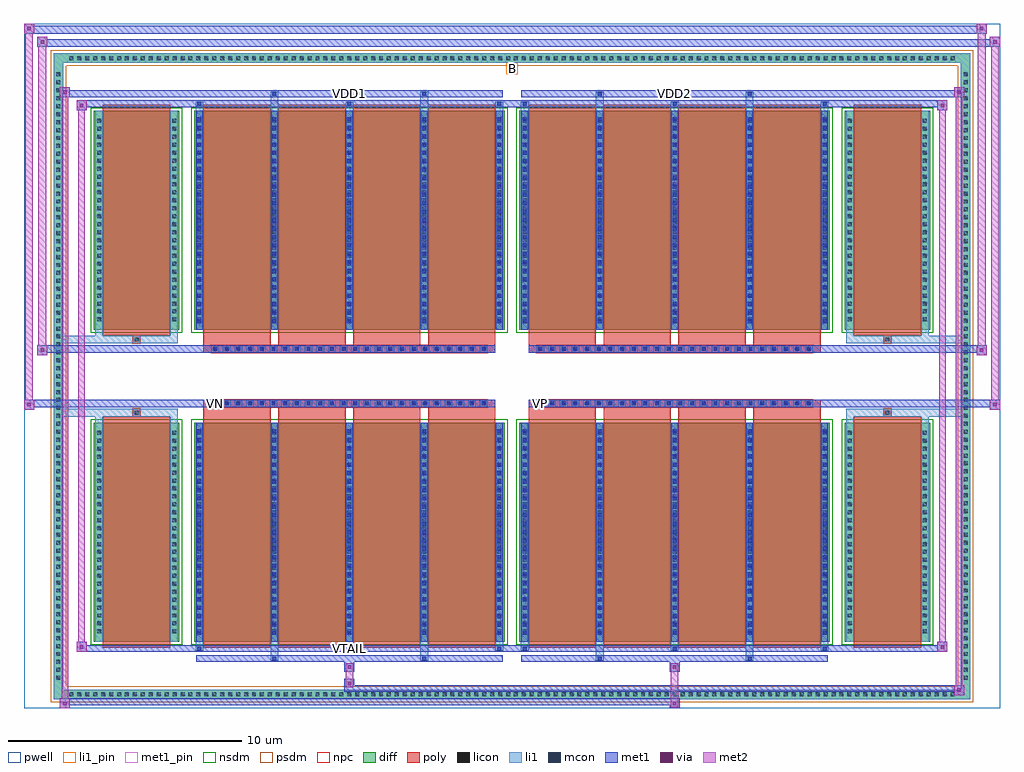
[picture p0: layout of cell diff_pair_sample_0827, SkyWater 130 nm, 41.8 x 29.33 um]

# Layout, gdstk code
import gdstk
lib = gdstk.Library(unit=1e-6, precision=5e-09)
def R(c, l, rs):  # rectangles x0, y0, x1, y1
    for r in rs: c.add(gdstk.rectangle(r[:2], r[2:], *l))
def A(c, l, x, y, w, h, nx, ny, dx, dy):  # array of equal rectangles
    R(c, l, [(x+i*dx, y+j*dy, x+i*dx+w, y+j*dy+h) for i in range(nx) for j in range(ny)])
def P(c, l, *ps):  # polygons
    for p in ps: c.add(gdstk.Polygon(p, *l))
pwell = (64, 44)
diff = (65, 20)
poly = (66, 20)
licon = (66, 44)
li1_pin = (67, 16)
li1 = (67, 20)
mcon = (67, 44)
met1_pin = (68, 16)
met1 = (68, 20)
via = (68, 44)
met2 = (69, 20)
nsdm = (93, 44)
psdm = (94, 20)
npc = (95, 20)

diff_pair_sample_0827 = lib.new_cell('diff_pair_sample_0827')
R(diff_pair_sample_0827, pwell, [(-20.9,-14.23,20.9,15.1), (-18.22,-12.42,-0.01,-0.8), (0.01,-12.42,18.22,-0.8), (-18.22,0.8,-0.01,12.42), (0.01,0.8,18.22,12.42)])
A(diff_pair_sample_0827, diff, -19.075, -13.83, 0.41, 0.41, 112, 2, 0.34, 27.25)
A(diff_pair_sample_0827, diff, -19.63, -13.125, 0.41, 0.41, 1, 77, 0, 0.34)
A(diff_pair_sample_0827, diff, 19.22, -13.125, 0.41, 0.41, 1, 77, 0, 0.34)
R(diff_pair_sample_0827, diff, [(-19.075,-13.83,19.075,-13.42), (-19.63,-13.125,-19.22,13.125), (19.22,-13.125,19.63,13.125), (-17.91,-11.375,-14.25,-1.985), (-13.61,-11.375,-0.32,-1.985), (0.32,-11.375,13.61,-1.985), (14.25,-11.375,17.91,-1.985), (-17.91,1.985,-14.25,11.375), (-13.61,1.985,-0.32,11.375), (0.32,1.985,13.61,11.375), (14.25,1.985,17.91,11.375), (-19.075,13.42,19.075,13.83)])
P(diff_pair_sample_0827, diff, [(19.63,13.83),(-19.63,13.83),(-19.63,-13.42),(-19.22,-13.42),(-19.22,13.42),(19.22,13.42),(19.22,-13.42),(-19.22,-13.42),(-19.63,-13.42),(-19.63,-13.83),(19.63,-13.83)])
A(diff_pair_sample_0827, poly, -13.22, -11.625, 2.88, 9.89, 4, 2, 3.21, 13.36)
A(diff_pair_sample_0827, poly, 0.71, -11.625, 2.88, 9.89, 4, 2, 3.21, 13.36)
A(diff_pair_sample_0827, poly, -13.22, -1.735, 2.88, 0.405, 4, 2, 3.21, 3.065)
A(diff_pair_sample_0827, poly, 0.71, -1.735, 2.88, 0.405, 4, 2, 3.21, 3.065)
A(diff_pair_sample_0827, poly, -12.88, -1.33, 0.33, 0.33, 24, 2, 0.5, 2.33)
A(diff_pair_sample_0827, poly, 1.05, -1.33, 0.33, 0.33, 24, 2, 0.5, 2.33)
R(diff_pair_sample_0827, poly, [(-17.52,-11.625,-14.64,-1.735), (14.64,-11.625,17.52,-1.735), (-16.245,-1.735,-15.915,-1.405), (-16.245,-1.735,-15.915,-1.405), (15.915,-1.735,16.245,-1.405), (15.915,-1.735,16.245,-1.405), (-13.22,-1.33,-0.71,-1), (0.71,-1.33,13.22,-1), (-13.22,1,-0.71,1.33), (0.71,1,13.22,1.33), (-16.245,1.405,-15.915,1.735), (-16.245,1.405,-15.915,1.735), (15.915,1.405,16.245,1.735), (15.915,1.405,16.245,1.735), (-17.52,1.735,-14.64,11.625), (14.64,1.735,17.52,11.625)])
A(diff_pair_sample_0827, licon, -18.955, -13.71, 0.17, 0.17, 112, 2, 0.34, 27.25)
A(diff_pair_sample_0827, licon, -19.51, -13.005, 0.17, 0.17, 1, 77, 0, 0.34)
A(diff_pair_sample_0827, licon, 19.34, -13.005, 0.17, 0.17, 1, 77, 0, 0.34)
A(diff_pair_sample_0827, licon, -17.77, -11.015, 0.17, 0.17, 1, 26, 0, 0.34)
A(diff_pair_sample_0827, licon, -14.56, -11.015, 0.17, 0.17, 1, 26, 0, 0.34)
A(diff_pair_sample_0827, licon, -13.47, -11.015, 0.17, 0.17, 5, 26, 3.21, 0.34)
A(diff_pair_sample_0827, licon, 0.46, -11.015, 0.17, 0.17, 5, 26, 3.21, 0.34)
A(diff_pair_sample_0827, licon, 14.39, -11.015, 0.17, 0.17, 1, 26, 0, 0.34)
A(diff_pair_sample_0827, licon, 17.6, -11.015, 0.17, 0.17, 1, 26, 0, 0.34)
A(diff_pair_sample_0827, licon, -12.8, -1.25, 0.17, 0.17, 24, 2, 0.5, 2.33)
A(diff_pair_sample_0827, licon, 1.13, -1.25, 0.17, 0.17, 24, 2, 0.5, 2.33)
A(diff_pair_sample_0827, licon, -17.77, 2.345, 0.17, 0.17, 1, 26, 0, 0.34)
A(diff_pair_sample_0827, licon, -14.56, 2.345, 0.17, 0.17, 1, 26, 0, 0.34)
A(diff_pair_sample_0827, licon, -13.47, 2.345, 0.17, 0.17, 5, 26, 3.21, 0.34)
A(diff_pair_sample_0827, licon, 0.46, 2.345, 0.17, 0.17, 5, 26, 3.21, 0.34)
A(diff_pair_sample_0827, licon, 14.39, 2.345, 0.17, 0.17, 1, 26, 0, 0.34)
A(diff_pair_sample_0827, licon, 17.6, 2.345, 0.17, 0.17, 1, 26, 0, 0.34)
R(diff_pair_sample_0827, licon, [(-16.165,-1.655,-15.995,-1.485), (15.995,-1.655,16.165,-1.485), (-16.165,1.485,-15.995,1.655), (15.995,1.485,16.165,1.655)])
R(diff_pair_sample_0827, li1_pin, [(-0.25,12.92,0.25,13.42)])
A(diff_pair_sample_0827, li1, -19.035, -13.79, 0.33, 0.33, 112, 2, 0.34, 27.25)
A(diff_pair_sample_0827, li1, -19.59, -13.085, 0.33, 0.33, 1, 77, 0, 0.34)
A(diff_pair_sample_0827, li1, 19.26, -13.085, 0.33, 0.33, 1, 77, 0, 0.34)
A(diff_pair_sample_0827, li1, -13.55, -11.75, 0.33, 0.375, 3, 2, 6.42, 23.125)
A(diff_pair_sample_0827, li1, -13.47, -11.75, 0.17, 0.17, 3, 2, 6.42, 23.33)
A(diff_pair_sample_0827, li1, 0.38, -11.75, 0.33, 0.375, 3, 2, 6.42, 23.125)
A(diff_pair_sample_0827, li1, 0.46, -11.75, 0.17, 0.17, 3, 2, 6.42, 23.33)
A(diff_pair_sample_0827, li1, -13.55, -11.375, 0.33, 9.39, 5, 2, 3.21, 13.36)
A(diff_pair_sample_0827, li1, 0.38, -11.375, 0.33, 9.39, 5, 2, 3.21, 13.36)
A(diff_pair_sample_0827, li1, -17.85, -11.095, 0.33, 0.33, 1, 26, 0, 0.34)
A(diff_pair_sample_0827, li1, -14.64, -11.095, 0.33, 0.33, 1, 26, 0, 0.34)
A(diff_pair_sample_0827, li1, -13.55, -11.095, 0.33, 0.33, 5, 26, 3.21, 0.34)
A(diff_pair_sample_0827, li1, 0.38, -11.095, 0.33, 0.33, 5, 26, 3.21, 0.34)
A(diff_pair_sample_0827, li1, 14.31, -11.095, 0.33, 0.33, 1, 26, 0, 0.34)
A(diff_pair_sample_0827, li1, 17.52, -11.095, 0.33, 0.33, 1, 26, 0, 0.34)
A(diff_pair_sample_0827, li1, -13.47, -11.085, 0.17, 0.17, 5, 25, 3.21, 0.36)
A(diff_pair_sample_0827, li1, -13.47, -11.085, 0.17, 8.81, 5, 2, 3.21, 13.36)
A(diff_pair_sample_0827, li1, 0.46, -11.085, 0.17, 0.17, 5, 25, 3.21, 0.36)
A(diff_pair_sample_0827, li1, 0.46, -11.085, 0.17, 8.81, 5, 2, 3.21, 13.36)
A(diff_pair_sample_0827, li1, -12.88, -1.33, 0.33, 0.33, 24, 2, 0.5, 2.33)
A(diff_pair_sample_0827, li1, 1.05, -1.33, 0.33, 0.33, 24, 2, 0.5, 2.33)
A(diff_pair_sample_0827, li1, -17.85, 2.265, 0.33, 0.33, 1, 26, 0, 0.34)
A(diff_pair_sample_0827, li1, -14.64, 2.265, 0.33, 0.33, 1, 26, 0, 0.34)
A(diff_pair_sample_0827, li1, -13.55, 2.265, 0.33, 0.33, 5, 26, 3.21, 0.34)
A(diff_pair_sample_0827, li1, 0.38, 2.265, 0.33, 0.33, 5, 26, 3.21, 0.34)
A(diff_pair_sample_0827, li1, 14.31, 2.265, 0.33, 0.33, 1, 26, 0, 0.34)
A(diff_pair_sample_0827, li1, 17.52, 2.265, 0.33, 0.33, 1, 26, 0, 0.34)
A(diff_pair_sample_0827, li1, -13.47, 2.275, 0.17, 0.17, 5, 25, 3.21, 0.36)
A(diff_pair_sample_0827, li1, 0.46, 2.275, 0.17, 0.17, 5, 25, 3.21, 0.36)
R(diff_pair_sample_0827, li1, [(-19.63,-13.83,-19.22,-13.42), (-19.63,-13.83,-19.22,-13.42), (-19.22,-13.83,19.22,-13.42), (19.22,-13.83,19.63,-13.42), (19.22,-13.83,19.63,-13.42), (-19.63,-13.42,-19.22,13.42), (19.22,-13.42,19.63,13.42), (-10.34,-12.18,-10.01,-11.375), (-10.26,-12.18,-10.09,-12.01), (-3.92,-12.18,-3.59,-11.375), (-3.84,-12.18,-3.67,-12.01), (3.59,-12.18,3.92,-11.375), (3.67,-12.18,3.84,-12.01), (10.01,-12.18,10.34,-11.375), (10.09,-12.18,10.26,-12.01), (-17.85,-11.375,-17.52,-1.985), (-14.64,-11.375,-14.31,-1.985), (14.31,-11.375,14.64,-1.985), (17.52,-11.375,17.85,-1.985), (-17.85,-1.985,-17.52,-1.405), (-14.64,-1.985,-14.31,-1.405), (14.31,-1.985,14.64,-1.405), (17.52,-1.985,17.85,-1.405), (-19.63,-1.735,-16.245,-1.405), (-17.85,-1.735,-16.245,-1.405), (-16.245,-1.735,-15.915,-1.405), (-15.915,-1.735,-14.31,-1.405), (14.31,-1.735,15.915,-1.405), (15.915,-1.735,16.245,-1.405), (15.915,-1.735,19.63,-1.405), (16.245,-1.735,17.85,-1.405), (-19.63,1.405,-16.245,1.735), (-17.85,1.405,-16.245,1.735), (-17.85,1.405,-17.52,1.985), (-16.245,1.405,-15.915,1.735), (-15.915,1.405,-14.31,1.735), (-14.64,1.405,-14.31,1.985), (14.31,1.405,15.915,1.735), (14.31,1.405,14.64,1.985), (15.915,1.405,16.245,1.735), (15.915,1.405,19.63,1.735), (16.245,1.405,17.85,1.735), (17.52,1.405,17.85,1.985), (-17.85,1.985,-17.52,11.375), (-14.64,1.985,-14.31,11.375), (14.31,1.985,14.64,11.375), (17.52,1.985,17.85,11.375), (-10.34,11.375,-10.01,12.18), (-3.92,11.375,-3.59,12.18), (3.59,11.375,3.92,12.18), (10.01,11.375,10.34,12.18), (-10.26,12.01,-10.09,12.18), (-3.84,12.01,-3.67,12.18), (3.67,12.01,3.84,12.18), (10.09,12.01,10.26,12.18), (-19.63,13.42,-19.22,13.83), (-19.63,13.42,-19.22,13.83), (-19.22,13.42,19.22,13.83), (19.22,13.42,19.63,13.83), (19.22,13.42,19.63,13.83)])
A(diff_pair_sample_0827, mcon, -13.47, -11.75, 0.17, 0.17, 3, 2, 6.42, 23.33)
A(diff_pair_sample_0827, mcon, 0.46, -11.75, 0.17, 0.17, 3, 2, 6.42, 23.33)
A(diff_pair_sample_0827, mcon, -13.47, -11.085, 0.17, 0.17, 5, 25, 3.21, 0.36)
A(diff_pair_sample_0827, mcon, 0.46, -11.085, 0.17, 0.17, 5, 25, 3.21, 0.36)
A(diff_pair_sample_0827, mcon, -12.8, -1.25, 0.17, 0.17, 24, 2, 0.5, 2.33)
A(diff_pair_sample_0827, mcon, 1.13, -1.25, 0.17, 0.17, 24, 2, 0.5, 2.33)
A(diff_pair_sample_0827, mcon, -13.47, 2.275, 0.17, 0.17, 5, 25, 3.21, 0.36)
A(diff_pair_sample_0827, mcon, 0.46, 2.275, 0.17, 0.17, 5, 25, 3.21, 0.36)
R(diff_pair_sample_0827, mcon, [(-10.26,-12.18,-10.09,-12.01), (-3.84,-12.18,-3.67,-12.01), (3.67,-12.18,3.84,-12.01), (10.09,-12.18,10.26,-12.01), (-10.26,12.01,-10.09,12.18), (-3.84,12.01,-3.67,12.18), (3.67,12.01,3.84,12.18), (10.09,12.01,10.26,12.18)])
R(diff_pair_sample_0827, met1_pin, [(-7.1,-11.79,-6.83,-11.52), (-12.85,-1.29,-12.58,-1.02), (1.08,-1.29,1.35,-1.02), (-7.1,11.97,-6.83,12.24), (6.83,11.97,7.1,12.24)])
A(diff_pair_sample_0827, met1, -13.53, -11.81, 0.29, 0.29, 3, 2, 6.42, 23.33)
A(diff_pair_sample_0827, met1, 0.4, -11.81, 0.29, 0.29, 3, 2, 6.42, 23.33)
A(diff_pair_sample_0827, met1, -13.53, -11.375, 0.29, 9.39, 5, 2, 3.21, 13.36)
A(diff_pair_sample_0827, met1, 0.4, -11.375, 0.29, 9.39, 5, 2, 3.21, 13.36)
A(diff_pair_sample_0827, met1, -13.53, -11.145, 0.29, 0.29, 5, 25, 3.21, 0.36)
A(diff_pair_sample_0827, met1, 0.4, -11.145, 0.29, 0.29, 5, 25, 3.21, 0.36)
A(diff_pair_sample_0827, met1, -12.86, -1.31, 0.29, 0.29, 24, 2, 0.5, 2.33)
A(diff_pair_sample_0827, met1, 1.07, -1.31, 0.29, 0.29, 24, 2, 0.5, 2.33)
A(diff_pair_sample_0827, met1, -13.53, 2.215, 0.29, 0.29, 5, 25, 3.21, 0.36)
A(diff_pair_sample_0827, met1, 0.4, 2.215, 0.29, 0.29, 5, 25, 3.21, 0.36)
R(diff_pair_sample_0827, met1, [(-19.36,-14.23,-18.93,-13.8), (6.75,-14.23,7.18,-13.8), (-19.36,-14.09,7.18,-13.8), (18.93,-13.66,19.36,-13.23), (-7.18,-13.52,19.36,-13.23), (-7.18,-13.38,-6.75,-12.95), (-7.18,-12.67,-6.75,-12.24), (6.75,-12.67,7.18,-12.24), (-13.53,-12.24,-0.4,-11.95), (-10.32,-12.24,-10.03,-11.95), (-3.9,-12.24,-3.61,-11.95), (0.4,-12.24,13.53,-11.95), (3.61,-12.24,3.9,-11.95), (10.03,-12.24,10.32,-11.95), (-18.65,-11.81,-18.22,-11.38), (-18.65,-11.81,-13.53,-11.52), (-13.53,-11.81,-0.4,-11.52), (-0.4,-11.81,0.4,-11.52), (0.4,-11.81,13.53,-11.52), (13.53,-11.81,18.65,-11.52), (18.22,-11.81,18.65,-11.38), (-20.9,-1.43,-20.47,-1), (20.47,-1.43,20.9,-1), (-20.9,-1.33,-0.71,-1), (-13.22,-1.33,-0.71,-1), (0.71,-1.33,13.22,-1), (0.71,-1.33,20.9,-1), (-20.33,0.9,-19.9,1.33), (19.9,0.9,20.33,1.33), (-20.33,1,-13.22,1.33), (-13.22,1,-0.71,1.33), (0.71,1,13.22,1.33), (13.22,1,20.33,1.33), (-18.65,11.38,-18.22,11.81), (18.22,11.38,18.65,11.81), (-18.65,11.52,-13.53,11.81), (-13.53,11.52,-0.4,11.81), (-0.4,11.52,0.4,11.81), (0.4,11.52,13.53,11.81), (13.53,11.52,18.65,11.81), (-19.36,11.95,-18.93,12.38), (-19.36,11.95,-13.53,12.24), (-13.53,11.95,-0.4,12.24), (-10.32,11.95,-10.03,12.24), (-3.9,11.95,-3.61,12.24), (0.4,11.95,13.53,12.24), (3.61,11.95,3.9,12.24), (10.03,11.95,10.32,12.24), (13.53,11.95,19.36,12.24), (18.93,11.95,19.36,12.38), (-20.33,14.1,-19.9,14.53), (-20.33,14.1,-18.22,14.43), (-18.22,14.1,18.22,14.43), (18.22,14.1,20.9,14.43), (20.47,14.1,20.9,14.53), (-20.9,14.67,-20.47,15.1), (-20.9,14.67,-18.22,15), (-18.22,14.67,18.22,15), (18.22,14.67,20.33,15), (19.9,14.67,20.33,15.1)])
R(diff_pair_sample_0827, via, [(-19.22,-14.09,-19.07,-13.94), (6.89,-14.09,7.04,-13.94), (19.07,-13.52,19.22,-13.37), (-7.04,-13.24,-6.89,-13.09), (-7.04,-12.53,-6.89,-12.38), (6.89,-12.53,7.04,-12.38), (-18.51,-11.67,-18.36,-11.52), (18.36,-11.67,18.51,-11.52), (-20.76,-1.29,-20.61,-1.14), (20.61,-1.29,20.76,-1.14), (-20.19,1.04,-20.04,1.19), (20.04,1.04,20.19,1.19), (-18.51,11.52,-18.36,11.67), (18.36,11.52,18.51,11.67), (-19.22,12.09,-19.07,12.24), (19.07,12.09,19.22,12.24), (-20.19,14.24,-20.04,14.39), (20.61,14.24,20.76,14.39), (-20.76,14.81,-20.61,14.96), (20.04,14.81,20.19,14.96)])
R(diff_pair_sample_0827, met2, [(-19.36,-14.23,-18.93,-13.8), (-19.29,-14.23,-19,12.38), (-19,-14.23,-18.93,-13.8), (-19.31,-14.18,-18.98,-13.85), (6.8,-14.18,7.13,-13.85), (6.8,-13.85,7.13,-12.62), (18.93,-13.66,19.36,-13.23), (19,-13.66,19.29,12.38), (19.29,-13.66,19.36,-13.23), (18.98,-13.61,19.31,-13.28), (-7.13,-13.33,-6.8,-13), (-7.13,-13,-6.8,-12.62), (-7.13,-12.62,-6.8,-12.29), (6.8,-12.62,7.13,-12.29), (-18.65,-11.81,-18.22,-11.38), (-18.58,-11.81,-18.29,11.81), (-18.29,-11.81,-18.22,-11.38), (18.22,-11.81,18.65,-11.38), (18.29,-11.81,18.58,11.81), (18.58,-11.81,18.65,-11.38), (-18.6,-11.76,-18.27,-11.43), (18.27,-11.76,18.6,-11.43), (-20.9,-1.43,-20.47,-1), (-20.85,-1.43,-20.52,15.1), (-20.52,-1.43,-20.47,-1), (20.47,-1.43,20.9,-1), (20.52,-1.43,20.85,14.53), (20.85,-1.43,20.9,-1), (-20.85,-1.38,-20.52,-1.05), (20.52,-1.38,20.85,-1.05), (-20.33,0.9,-19.9,1.33), (-20.28,0.9,-19.95,14.53), (-19.95,0.9,-19.9,1.33), (19.9,0.9,20.33,1.33), (19.95,0.9,20.28,15.1), (20.28,0.9,20.33,1.33), (-20.28,0.95,-19.95,1.28), (19.95,0.95,20.28,1.28), (-18.65,11.38,-18.22,11.81), (-18.29,11.38,-18.22,11.81), (18.22,11.38,18.65,11.81), (18.58,11.38,18.65,11.81), (-18.6,11.43,-18.27,11.76), (18.27,11.43,18.6,11.76), (-19.36,11.95,-18.93,12.38), (-19,11.95,-18.93,12.38), (18.93,11.95,19.36,12.38), (19.29,11.95,19.36,12.38), (-19.31,12,-18.98,12.33), (18.98,12,19.31,12.33), (-20.33,14.1,-19.9,14.53), (-19.95,14.1,-19.9,14.53), (20.47,14.1,20.9,14.53), (20.85,14.1,20.9,14.53), (-20.28,14.15,-19.95,14.48), (20.52,14.15,20.85,14.48), (-20.9,14.67,-20.47,15.1), (-20.52,14.67,-20.47,15.1), (19.9,14.67,20.33,15.1), (20.28,14.67,20.33,15.1), (-20.85,14.72,-20.52,15.05), (19.95,14.72,20.28,15.05)])
R(diff_pair_sample_0827, nsdm, [(-18.04,-11.505,-14.12,-1.855), (-13.74,-11.505,-0.19,-1.855), (0.19,-11.505,13.74,-1.855), (14.12,-11.505,18.04,-1.855), (-18.04,1.855,-14.12,11.505), (-13.74,1.855,-0.19,11.505), (0.19,1.855,13.74,11.505), (14.12,1.855,18.04,11.505)])
P(diff_pair_sample_0827, psdm, [(19.76,13.96),(-19.76,13.96),(-19.76,-13.29),(-19.09,-13.29),(-19.09,13.29),(19.09,13.29),(19.09,-13.29),(-19.09,-13.29),(-19.76,-13.29),(-19.76,-13.96),(19.76,-13.96)])
A(diff_pair_sample_0827, npc, -12.9, -1.35, 0.37, 0.37, 24, 2, 0.5, 2.33)
A(diff_pair_sample_0827, npc, 1.03, -1.35, 0.37, 0.37, 24, 2, 0.5, 2.33)
R(diff_pair_sample_0827, npc, [(-16.265,-1.755,-15.895,-1.385), (15.895,-1.755,16.265,-1.385), (-12.9,-1.35,-12.03,-0.98), (-12.9,-1.35,-12.03,-0.98), (-12.4,-1.35,-11.53,-0.98), (-12.4,-1.35,-11.53,-0.98), (-11.9,-1.35,-11.03,-0.98), (-11.9,-1.35,-11.03,-0.98), (-11.4,-1.35,-10.53,-0.98), (-11.4,-1.35,-10.53,-0.98), (-10.9,-1.35,-10.03,-0.98), (-10.9,-1.35,-10.03,-0.98), (-10.4,-1.35,-9.53,-0.98), (-10.4,-1.35,-9.53,-0.98), (-9.9,-1.35,-9.03,-0.98), (-9.9,-1.35,-9.03,-0.98), (-9.4,-1.35,-8.53,-0.98), (-9.4,-1.35,-8.53,-0.98), (-8.9,-1.35,-8.03,-0.98), (-8.9,-1.35,-8.03,-0.98), (-8.4,-1.35,-7.53,-0.98), (-8.4,-1.35,-7.53,-0.98), (-7.9,-1.35,-7.03,-0.98), (-7.9,-1.35,-7.03,-0.98), (-7.4,-1.35,-6.53,-0.98), (-7.4,-1.35,-6.53,-0.98), (-6.9,-1.35,-6.03,-0.98), (-6.9,-1.35,-6.03,-0.98), (-6.4,-1.35,-5.53,-0.98), (-6.4,-1.35,-5.53,-0.98), (-5.9,-1.35,-5.03,-0.98), (-5.9,-1.35,-5.03,-0.98), (-5.4,-1.35,-4.53,-0.98), (-5.4,-1.35,-4.53,-0.98), (-4.9,-1.35,-4.03,-0.98), (-4.9,-1.35,-4.03,-0.98), (-4.4,-1.35,-3.53,-0.98), (-4.4,-1.35,-3.53,-0.98), (-3.9,-1.35,-3.03,-0.98), (-3.9,-1.35,-3.03,-0.98), (-3.4,-1.35,-2.53,-0.98), (-3.4,-1.35,-2.53,-0.98), (-2.9,-1.35,-2.03,-0.98), (-2.9,-1.35,-2.03,-0.98), (-2.4,-1.35,-1.53,-0.98), (-2.4,-1.35,-1.53,-0.98), (-1.9,-1.35,-1.03,-0.98), (-1.9,-1.35,-1.03,-0.98), (1.03,-1.35,1.9,-0.98), (1.03,-1.35,1.9,-0.98), (1.53,-1.35,2.4,-0.98), (1.53,-1.35,2.4,-0.98), (2.03,-1.35,2.9,-0.98), (2.03,-1.35,2.9,-0.98), (2.53,-1.35,3.4,-0.98), (2.53,-1.35,3.4,-0.98), (3.03,-1.35,3.9,-0.98), (3.03,-1.35,3.9,-0.98), (3.53,-1.35,4.4,-0.98), (3.53,-1.35,4.4,-0.98), (4.03,-1.35,4.9,-0.98), (4.03,-1.35,4.9,-0.98), (4.53,-1.35,5.4,-0.98), (4.53,-1.35,5.4,-0.98), (5.03,-1.35,5.9,-0.98), (5.03,-1.35,5.9,-0.98), (5.53,-1.35,6.4,-0.98), (5.53,-1.35,6.4,-0.98), (6.03,-1.35,6.9,-0.98), (6.03,-1.35,6.9,-0.98), (6.53,-1.35,7.4,-0.98), (6.53,-1.35,7.4,-0.98), (7.03,-1.35,7.9,-0.98), (7.03,-1.35,7.9,-0.98), (7.53,-1.35,8.4,-0.98), (7.53,-1.35,8.4,-0.98), (8.03,-1.35,8.9,-0.98), (8.03,-1.35,8.9,-0.98), (8.53,-1.35,9.4,-0.98), (8.53,-1.35,9.4,-0.98), (9.03,-1.35,9.9,-0.98), (9.03,-1.35,9.9,-0.98), (9.53,-1.35,10.4,-0.98), (9.53,-1.35,10.4,-0.98), (10.03,-1.35,10.9,-0.98), (10.03,-1.35,10.9,-0.98), (10.53,-1.35,11.4,-0.98), (10.53,-1.35,11.4,-0.98), (11.03,-1.35,11.9,-0.98), (11.03,-1.35,11.9,-0.98), (11.53,-1.35,12.4,-0.98), (11.53,-1.35,12.4,-0.98), (12.03,-1.35,12.9,-0.98), (12.03,-1.35,12.9,-0.98), (-12.9,0.98,-12.03,1.35), (-12.9,0.98,-12.03,1.35), (-12.4,0.98,-11.53,1.35), (-12.4,0.98,-11.53,1.35), (-11.9,0.98,-11.03,1.35), (-11.9,0.98,-11.03,1.35), (-11.4,0.98,-10.53,1.35), (-11.4,0.98,-10.53,1.35), (-10.9,0.98,-10.03,1.35), (-10.9,0.98,-10.03,1.35), (-10.4,0.98,-9.53,1.35), (-10.4,0.98,-9.53,1.35), (-9.9,0.98,-9.03,1.35), (-9.9,0.98,-9.03,1.35), (-9.4,0.98,-8.53,1.35), (-9.4,0.98,-8.53,1.35), (-8.9,0.98,-8.03,1.35), (-8.9,0.98,-8.03,1.35), (-8.4,0.98,-7.53,1.35), (-8.4,0.98,-7.53,1.35), (-7.9,0.98,-7.03,1.35), (-7.9,0.98,-7.03,1.35), (-7.4,0.98,-6.53,1.35), (-7.4,0.98,-6.53,1.35), (-6.9,0.98,-6.03,1.35), (-6.9,0.98,-6.03,1.35), (-6.4,0.98,-5.53,1.35), (-6.4,0.98,-5.53,1.35), (-5.9,0.98,-5.03,1.35), (-5.9,0.98,-5.03,1.35), (-5.4,0.98,-4.53,1.35), (-5.4,0.98,-4.53,1.35), (-4.9,0.98,-4.03,1.35), (-4.9,0.98,-4.03,1.35), (-4.4,0.98,-3.53,1.35), (-4.4,0.98,-3.53,1.35), (-3.9,0.98,-3.03,1.35), (-3.9,0.98,-3.03,1.35), (-3.4,0.98,-2.53,1.35), (-3.4,0.98,-2.53,1.35), (-2.9,0.98,-2.03,1.35), (-2.9,0.98,-2.03,1.35), (-2.4,0.98,-1.53,1.35), (-2.4,0.98,-1.53,1.35), (-1.9,0.98,-1.03,1.35), (-1.9,0.98,-1.03,1.35), (1.03,0.98,1.9,1.35), (1.03,0.98,1.9,1.35), (1.53,0.98,2.4,1.35), (1.53,0.98,2.4,1.35), (2.03,0.98,2.9,1.35), (2.03,0.98,2.9,1.35), (2.53,0.98,3.4,1.35), (2.53,0.98,3.4,1.35), (3.03,0.98,3.9,1.35), (3.03,0.98,3.9,1.35), (3.53,0.98,4.4,1.35), (3.53,0.98,4.4,1.35), (4.03,0.98,4.9,1.35), (4.03,0.98,4.9,1.35), (4.53,0.98,5.4,1.35), (4.53,0.98,5.4,1.35), (5.03,0.98,5.9,1.35), (5.03,0.98,5.9,1.35), (5.53,0.98,6.4,1.35), (5.53,0.98,6.4,1.35), (6.03,0.98,6.9,1.35), (6.03,0.98,6.9,1.35), (6.53,0.98,7.4,1.35), (6.53,0.98,7.4,1.35), (7.03,0.98,7.9,1.35), (7.03,0.98,7.9,1.35), (7.53,0.98,8.4,1.35), (7.53,0.98,8.4,1.35), (8.03,0.98,8.9,1.35), (8.03,0.98,8.9,1.35), (8.53,0.98,9.4,1.35), (8.53,0.98,9.4,1.35), (9.03,0.98,9.9,1.35), (9.03,0.98,9.9,1.35), (9.53,0.98,10.4,1.35), (9.53,0.98,10.4,1.35), (10.03,0.98,10.9,1.35), (10.03,0.98,10.9,1.35), (10.53,0.98,11.4,1.35), (10.53,0.98,11.4,1.35), (11.03,0.98,11.9,1.35), (11.03,0.98,11.9,1.35), (11.53,0.98,12.4,1.35), (11.53,0.98,12.4,1.35), (12.03,0.98,12.9,1.35), (12.03,0.98,12.9,1.35), (-16.265,1.385,-15.895,1.755), (15.895,1.385,16.265,1.755)])
diff_pair_sample_0827.add(gdstk.Label('VTAIL', (-6.965,-11.655), layer=68, texttype=5))
diff_pair_sample_0827.add(gdstk.Label('VN', (-12.715,-1.155), layer=68, texttype=5))
diff_pair_sample_0827.add(gdstk.Label('VP', (1.215,-1.155), layer=68, texttype=5))
diff_pair_sample_0827.add(gdstk.Label('B', (0,13.17), layer=67, texttype=5))
diff_pair_sample_0827.add(gdstk.Label('VDD2', (6.965,12.105), layer=68, texttype=5))
diff_pair_sample_0827.add(gdstk.Label('VDD1', (-6.965,12.105), layer=68, texttype=5))

lib.write_gds('diff_pair_sample_0827.gds')
